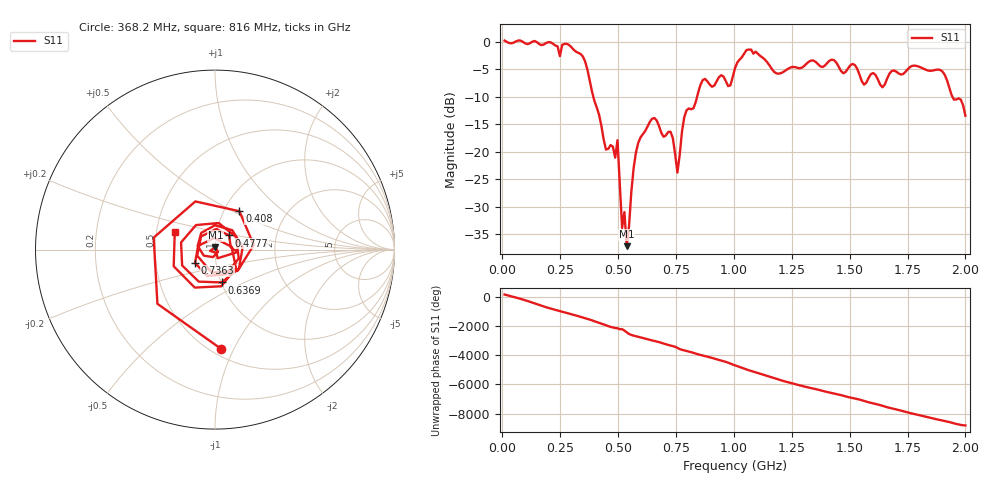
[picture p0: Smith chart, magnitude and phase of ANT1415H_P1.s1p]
!Created with skrf (http://scikit-rf.org).
# Hz S RI R 50.0
!freq ReS11 ImS11
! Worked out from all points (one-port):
!   201 points, 10 MHz to 2 GHz, reference 50 ohm
!   lowest |S11| = -37.1 dB at 537.4 MHz (marker M1), VSWR 1.03, Z = 50.2 + j1.38 ohm
!   |S11| at or under -10 dB: 393.3 MHz to 841.2 MHz (447.9 MHz wide, 72.6 % of centre); 1.944 GHz to end of sweep
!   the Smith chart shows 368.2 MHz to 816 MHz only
!   S11 on the Smith chart (normalised r, x): 368.2 MHz: 0.56, -0.89; 408 MHz: 1.18, +0.54; 477.6 MHz: 1.16, +0.18; 636.9 MHz: 1.00, -0.38; 736.4 MHz: 0.79, -0.12; 816 MHz: 0.62, +0.13
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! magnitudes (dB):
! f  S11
! 10 MHz  0.2
! 258.8 MHz  -0.5
! 368.2 MHz  -5.1
! 408 MHz  -11.9
! 447.8 MHz  -19.6
! 477.6 MHz  -19.0
! 487.6 MHz  -21.1
! 497.6 MHz  -17.9
! 507.5 MHz  -26.0
! 517.5 MHz  -33.8
! 527.4 MHz  -30.9
! 537.4 MHz  -37.1
! 577.1 MHz  -20.1
! 636.9 MHz  -14.6
! 736.4 MHz  -17.5
! 756.2 MHz  -23.8
! 786.1 MHz  -13.7
! 816 MHz  -12.3
! 865.7 MHz  -6.9
! 985.1 MHz  -7.9
! 1.005 GHz  -4.8
! 1.065 GHz  -1.4
! 1.254 GHz  -4.6
! 1.502 GHz  -4.3
! 1.642 GHz  -8.2
! 1.751 GHz  -4.9
! 1.901 GHz  -5.4
! 2 GHz  -13.4
